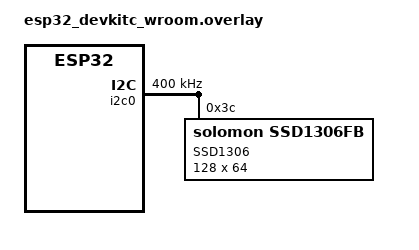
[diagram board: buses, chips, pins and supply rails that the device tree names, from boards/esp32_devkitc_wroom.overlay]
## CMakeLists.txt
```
# SPDX-License-Identifier: Apache-2.0

cmake_minimum_required(VERSION 3.20.0)

set(BOARD_ROOT ${CMAKE_CURRENT_LIST_DIR})
# set(DTC_OVERLAY_FILE $(CMAKE_CURRENT_SOURCE_DIR)/boards/esp32c3_devkitm.overlay)
# set(OVERLAY_CONFIG $(CMAKE_CURRENT_SOURCE_DIR)/boards/esp32c3_devkitm.conf)

find_package(Zephyr REQUIRED HINTS $ENV{ZEPHYR_BASE})
project(led_ssd1306)

FILE(GLOB app_sources src/*.c)
target_sources(app PRIVATE ${app_sources})
```

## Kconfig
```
# Copyright (c) 2019 Nordic Semiconductor ASA
# SPDX-License-Identifier: Apache-2.0

# Use the SPI driver by default, unless the GPIO driver is
# specifically configured in.
config I2C
	default y

menu "I2C ssd1306 Configuration"

config SAMPLE_SSD1306_UPDATE_DELAY
	int "Delay between LCD updates in ms"
	default 50
	help
	  Delay between LCD updates in ms.

endmenu

source "Kconfig.zephyr"
```

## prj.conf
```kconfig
CONFIG_LOG=y
CONFIG_GPIO=y
CONFIG_I2C=y
CONFIG_STDOUT_CONSOLE=y
CONFIG_HEAP_MEM_POOL_SIZE=16384
CONFIG_DISPLAY=y
CONFIG_CFB_LOG_LEVEL_DBG=y
CONFIG_CHARACTER_FRAMEBUFFER=y
CONFIG_SSD1306_DEFAULT_CONTRAST=128
```

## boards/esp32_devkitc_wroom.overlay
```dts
/*
 * Copyright (c) 2022 Espressif Systems (Shanghai) Co., Ltd.
 *
 * SPDX-License-Identifier: Apache-2.0
 */

#include <zephyr/dt-bindings/led/led.h>

&i2c0 {
	status = "okay";
	clock-frequency = <I2C_BITRATE_FAST>;
	pinctrl-0 = <&i2c0_default>;
	pinctrl-names = "default";
	ssd1306: ssd1306@3c {
		compatible = "solomon,ssd1306fb";
		reg = < 0x3c >;
		label = "SSD1306";
		width = < 128 >;
		height = < 64 >;
		segment-offset = < 0x0 >;
		page-offset = < 0x0 >;
		display-offset = < 0x0 >;
		multiplex-ratio = < 0x3f >;
		segment-remap;
		com-invdir;
		prechargep = < 0x22 >;
	};
};
```

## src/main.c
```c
#include <zephyr/kernel.h>
#include <zephyr/device.h>
#include <zephyr/display/cfb.h>
#include <zephyr/logging/log.h>
#include <stdio.h>
#include "logo_image.h"

#define DISPLAY_BUFFER_PITCH 128

LOG_MODULE_REGISTER(display);

static const struct device *display = DEVICE_DT_GET(DT_NODELABEL(ssd1306));

int main(void)
{
	if (display == NULL) {
		LOG_ERR("device pointer is NULL");
		return 0;
	}

	if (!device_is_ready(display)) {
		LOG_ERR("display device is not ready");
		return 0;
	}

	struct display_capabilities capabilities;
	display_get_capabilities(display, &capabilities);

	const uint16_t x_res = capabilities.x_resolution;
	const uint16_t y_res = capabilities.y_resolution;

	LOG_INF("x_resolution: %d", x_res);
	LOG_INF("y_resolution: %d", y_res);
	LOG_INF("supported pixel formats: %d",
		capabilities.supported_pixel_formats);
	LOG_INF("screen_info: %d", capabilities.screen_info);
	LOG_INF("current_pixel_format: %d", capabilities.current_pixel_format);
	LOG_INF("current_orientation: %d", capabilities.current_orientation);

	const struct display_buffer_descriptor buf_desc = {
		.width = x_res,
		.height = y_res,
		.buf_size = x_res * y_res,
		.pitch = DISPLAY_BUFFER_PITCH
	};

	if (display_write(display, 0, 0, &buf_desc, buf) != 0) {
		LOG_ERR("could not write to display");
	}

	if (display_set_contrast(display, 0) != 0) {
		LOG_ERR("could not set display contrast");
	}
	size_t ms_sleep = 5;

	while (true) {
		// Increase brightness
		for (size_t i = 0; i < 255; i++) {
			display_set_contrast(display, i);
			k_sleep(K_MSEC(ms_sleep));
		}

		// Decrease brightness
		for (size_t i = 255; i > 0; i--) {
			display_set_contrast(display, i);
			k_sleep(K_MSEC(ms_sleep));
		}
	}
}
```

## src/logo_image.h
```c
uint8_t buf[1024] = {
	0x00, 0x00, 0x00, 0x00, 0x00, 0x00, 0x00, 0x00, 0x00, 0x00, 0x00, 0x00,
	0x00, 0x00, 0x00, 0x00, 0x00, 0x00, 0x00, 0x00, 0x00, 0x00, 0x00, 0x00,
	0x00, 0x00, 0x00, 0x00, 0x00, 0x00, 0x00, 0x00, 0x00, 0x00, 0x00, 0x00,
	0x00, 0x00, 0x00, 0x00, 0x00, 0x00, 0x00, 0x00, 0x00, 0x00, 0x00, 0x00,
	0x00, 0x00, 0x00, 0x00, 0x00, 0x00, 0x00, 0x00, 0x00, 0x00, 0x00, 0x80,
	0x80, 0x80, 0x80, 0x00, 0x00, 0x80, 0x80, 0x80, 0x80, 0x00, 0x00, 0x00,
	0x00, 0x00, 0x00, 0x00, 0x00, 0x00, 0x00, 0x00, 0x00, 0x00, 0x00, 0x00,
	0x00, 0x00, 0x00, 0x00, 0x00, 0x00, 0x00, 0x00, 0x00, 0x00, 0x00, 0x00,
	0x00, 0x00, 0x00, 0x00, 0x00, 0x00, 0x00, 0x00, 0x00, 0x00, 0x00, 0x00,
	0x00, 0x00, 0x00, 0x00, 0x00, 0x00, 0x00, 0x00, 0x00, 0x00, 0x00, 0x00,
	0x00, 0x00, 0x00, 0x00, 0x00, 0x00, 0x00, 0x00, 0x00, 0x00, 0x00, 0x00,
	0x00, 0x00, 0x00, 0x00, 0x00, 0x00, 0x00, 0x00, 0x00, 0x00, 0x00, 0x00,
	0x00, 0x00, 0x00, 0x00, 0x00, 0x00, 0x00, 0x00, 0x00, 0x00, 0x00, 0x00,
	0x00, 0x00, 0x00, 0x00, 0x00, 0x00, 0x00, 0x00, 0x00, 0x00, 0x00, 0x00,
	0x00, 0x00, 0x00, 0x00, 0x00, 0x00, 0x00, 0x80, 0xc0, 0xe0, 0xf0, 0xf8,
	0xfc, 0xfc, 0xfe, 0xfe, 0xff, 0xff, 0xff, 0x1f, 0x1f, 0x0f, 0x0f, 0x00,
	0x00, 0x0f, 0x0f, 0x1f, 0x1f, 0xff, 0xff, 0xff, 0xfe, 0xfe, 0xfc, 0xfc,
	0xf8, 0xf0, 0xe0, 0xc0, 0x80, 0x00, 0x00, 0x00, 0x00, 0x00, 0x00, 0x00,
	0x00, 0x00, 0x00, 0x00, 0x00, 0x00, 0x00, 0x00, 0x00, 0x00, 0x00, 0x00,
	0x00, 0x00, 0x00, 0x00, 0x00, 0x00, 0x00, 0x00, 0x00, 0x00, 0x00, 0x00,
	0x00, 0x00, 0x00, 0x00, 0x00, 0x00, 0x00, 0x00, 0x00, 0x00, 0x00, 0x00,
	0x00, 0x00, 0x00, 0x00, 0x00, 0x00, 0x00, 0x00, 0x00, 0x00, 0x00, 0x00,
	0x00, 0x00, 0x00, 0x00, 0x00, 0x00, 0x00, 0x00, 0x00, 0x00, 0x00, 0x00,
	0x00, 0x00, 0x00, 0x00, 0x00, 0x00, 0x00, 0x00, 0x00, 0x00, 0x00, 0x00,
	0x00, 0x00, 0x00, 0x00, 0x00, 0x00, 0x00, 0x00, 0x00, 0x00, 0x00, 0x00,
	0xc0, 0xf8, 0xfe, 0xff, 0xff, 0xff, 0xff, 0xff, 0xff, 0xff, 0xff, 0xff,
	0xff, 0xff, 0xff, 0x86, 0x86, 0x86, 0x86, 0x86, 0x86, 0x86, 0x86, 0x86,
	0x86, 0xff, 0xff, 0xff, 0xff, 0xff, 0xff, 0xff, 0xff, 0xff, 0xff, 0xff,
	0xff, 0xfe, 0xf8, 0xc0, 0x00, 0x00, 0x00, 0x00, 0x00, 0x00, 0x00, 0x00,
	0x00, 0x00, 0x00, 0x00, 0x00, 0x00, 0x00, 0x00, 0x00, 0x00, 0x00, 0x00,
	0x00, 0x00, 0x00, 0x00, 0x00, 0x00, 0x00, 0x00, 0x00, 0x00, 0x00, 0x00,
	0x00, 0x00, 0x00, 0x00, 0x00, 0x00, 0x00, 0x00, 0x00, 0x00, 0x00, 0x00,
	0x00, 0x00, 0x00, 0x00, 0x00, 0x00, 0x00, 0x00, 0x00, 0x00, 0x00, 0x00,
	0x00, 0x00, 0x00, 0x00, 0x00, 0x00, 0x00, 0x00, 0x00, 0x00, 0x00, 0x00,
	0x00, 0x00, 0x00, 0x00, 0x00, 0x00, 0x00, 0x00, 0x00, 0x00, 0x00, 0x00,
	0x00, 0x00, 0x00, 0x00, 0x00, 0x00, 0x00, 0x00, 0xff, 0xff, 0xff, 0xff,
	0xff, 0xff, 0xff, 0xff, 0xff, 0xff, 0xff, 0xff, 0xff, 0xff, 0xff, 0x21,
	0x21, 0x21, 0x21, 0x21, 0x21, 0x21, 0x21, 0x21, 0x21, 0xff, 0xff, 0xff,
	0xff, 0xff, 0xff, 0xff, 0xff, 0xff, 0xff, 0xff, 0xff, 0xff, 0xff, 0xff,
	0x00, 0x00, 0x00, 0x00, 0x00, 0x00, 0x00, 0x00, 0x00, 0x00, 0x00, 0x00,
	0x00, 0x00, 0x00, 0x00, 0x00, 0x00, 0x00, 0x00, 0x00, 0x00, 0x00, 0x00,
	0x00, 0x00, 0x00, 0x00, 0x00, 0x00, 0x00, 0x00, 0x00, 0x00, 0x00, 0x00,
	0x00, 0x00, 0x00, 0x00, 0x00, 0x00, 0x00, 0x00, 0x00, 0x00, 0x00, 0x00,
	0x00, 0x00, 0x00, 0x00, 0x00, 0x00, 0x00, 0x00, 0x00, 0x00, 0x00, 0x00,
	0x00, 0x00, 0x00, 0x00, 0x00, 0x00, 0x00, 0x00, 0x00, 0x00, 0x00, 0x00,
	0x00, 0x00, 0x00, 0x00, 0x00, 0x00, 0x00, 0x00, 0x00, 0x00, 0x00, 0x00,
	0x00, 0x00, 0x00, 0x00, 0x00, 0x07, 0x1f, 0x7f, 0xff, 0xff, 0xff, 0xff,
	0xff, 0xff, 0xff, 0xff, 0xff, 0xff, 0xff, 0x18, 0x18, 0x18, 0x18, 0x18,
	0x18, 0x18, 0x18, 0x18, 0x18, 0xff, 0xff, 0xff, 0xff, 0xff, 0xff, 0xff,
	0xff, 0xff, 0xff, 0xff, 0x7f, 0x1f, 0x07, 0x00, 0x00, 0x00, 0x00, 0x00,
	0x00, 0x00, 0x00, 0x00, 0x00, 0x00, 0x00, 0x00, 0x00, 0x00, 0x00, 0x00,
	0x00, 0x00, 0x00, 0x00, 0x00, 0x00, 0x00, 0x00, 0x00, 0x00, 0x00, 0x00,
	0x00, 0x00, 0x00, 0x00, 0x00, 0x00, 0x00, 0x00, 0x00, 0x00, 0x00, 0x00,
	0x00, 0x00, 0x00, 0x00, 0x00, 0x00, 0x00, 0x00, 0x00, 0x00, 0x00, 0x00,
	0x00, 0x00, 0x00, 0x00, 0x00, 0x00, 0x00, 0x00, 0x00, 0x00, 0x00, 0x00,
	0x00, 0x00, 0x00, 0x00, 0x00, 0x00, 0x00, 0x00, 0x00, 0x00, 0x00, 0x00,
	0x00, 0x00, 0x00, 0x00, 0x00, 0x00, 0x00, 0x00, 0x00, 0x00, 0x00, 0x00,
	0x00, 0x00, 0x00, 0x00, 0x00, 0x01, 0x03, 0x07, 0x0f, 0x0f, 0x1f, 0x1f,
	0x3f, 0x3f, 0x3f, 0x7e, 0x7e, 0x7c, 0x7c, 0x00, 0x00, 0x7c, 0x7c, 0x7e,
	0x7e, 0x3f, 0x3f, 0x3f, 0x1f, 0x1f, 0x0f, 0x0f, 0x07, 0x03, 0x01, 0x00,
	0x00, 0x00, 0x00, 0x00, 0x00, 0x00, 0x00, 0x00, 0x00, 0x00, 0x00, 0x00,
	0x00, 0x00, 0x00, 0x00, 0x00, 0x00, 0x00, 0x00, 0x00, 0x00, 0x00, 0x00,
	0x00, 0x00, 0x00, 0x00, 0x00, 0x00, 0x00, 0x00, 0x00, 0x00, 0x00, 0x00,
	0x00, 0x00, 0x00, 0x00, 0x00, 0x00, 0x00, 0x00, 0x00, 0x00, 0x00, 0x00,
	0x00, 0x00, 0x00, 0x00, 0x00, 0x00, 0x00, 0x00, 0x00, 0x00, 0x00, 0x00,
	0x10, 0x10, 0xf0, 0x10, 0x10, 0x00, 0xf0, 0x80, 0x80, 0x80, 0xf0, 0x00,
	0xf0, 0x90, 0x90, 0x90, 0x10, 0x00, 0x00, 0x00, 0xf0, 0x90, 0x90, 0x90,
	0x60, 0x00, 0xf0, 0x00, 0x00, 0x00, 0xf0, 0x00, 0xf0, 0x00, 0x00, 0x00,
	0x00, 0x00, 0xf0, 0x00, 0x00, 0x00, 0x00, 0x80, 0x80, 0x80, 0x00, 0xf0,
	0x00, 0x00, 0x00, 0xf0, 0x00, 0xf0, 0x90, 0x90, 0x90, 0x60, 0x00, 0x00,
	0x00, 0xf0, 0x90, 0x90, 0x90, 0x60, 0x00, 0xf0, 0x90, 0x90, 0x10, 0x10,
	0x00, 0x60, 0x90, 0x90, 0x90, 0x10, 0x00, 0xf0, 0x00, 0x60, 0x90, 0x90,
	0x90, 0x10, 0x00, 0x10, 0x10, 0xf0, 0x10, 0x10, 0x00, 0xe0, 0x10, 0x10,
	0x10, 0xe0, 0x00, 0xf0, 0x90, 0x90, 0x90, 0x60, 0x00, 0x00, 0x00, 0x00,
	0x00, 0x00, 0x00, 0x00, 0x00, 0x00, 0x00, 0x00, 0x00, 0x00, 0x00, 0x00,
	0x00, 0x00, 0x00, 0x00, 0x00, 0x00, 0x00, 0x00, 0x00, 0x00, 0x07, 0x00,
	0x00, 0x00, 0x07, 0x00, 0x00, 0x00, 0x07, 0x00, 0x07, 0x04, 0x04, 0x04,
	0x04, 0x00, 0x00, 0x00, 0x07, 0x00, 0x00, 0x00, 0x00, 0x00, 0x03, 0x04,
	0x04, 0x04, 0x03, 0x00, 0x07, 0x04, 0x04, 0x04, 0x04, 0x00, 0x07, 0x04,
	0x04, 0x04, 0x04, 0x00, 0x00, 0x00, 0x00, 0x03, 0x04, 0x04, 0x04, 0x03,
	0x00, 0x07, 0x00, 0x00, 0x00, 0x00, 0x00, 0x00, 0x00, 0x07, 0x00, 0x00,
	0x01, 0x06, 0x00, 0x07, 0x04, 0x04, 0x04, 0x04, 0x00, 0x04, 0x04, 0x04,
	0x04, 0x03, 0x00, 0x07, 0x00, 0x04, 0x04, 0x04, 0x04, 0x03, 0x00, 0x00,
	0x00, 0x07, 0x00, 0x00, 0x00, 0x03, 0x04, 0x04, 0x04, 0x03, 0x00, 0x07,
	0x00, 0x00, 0x01, 0x06, 0x00, 0x00, 0x00, 0x00, 0x00, 0x00, 0x00, 0x00,
	0x00, 0x00, 0x00, 0x00
};
```
